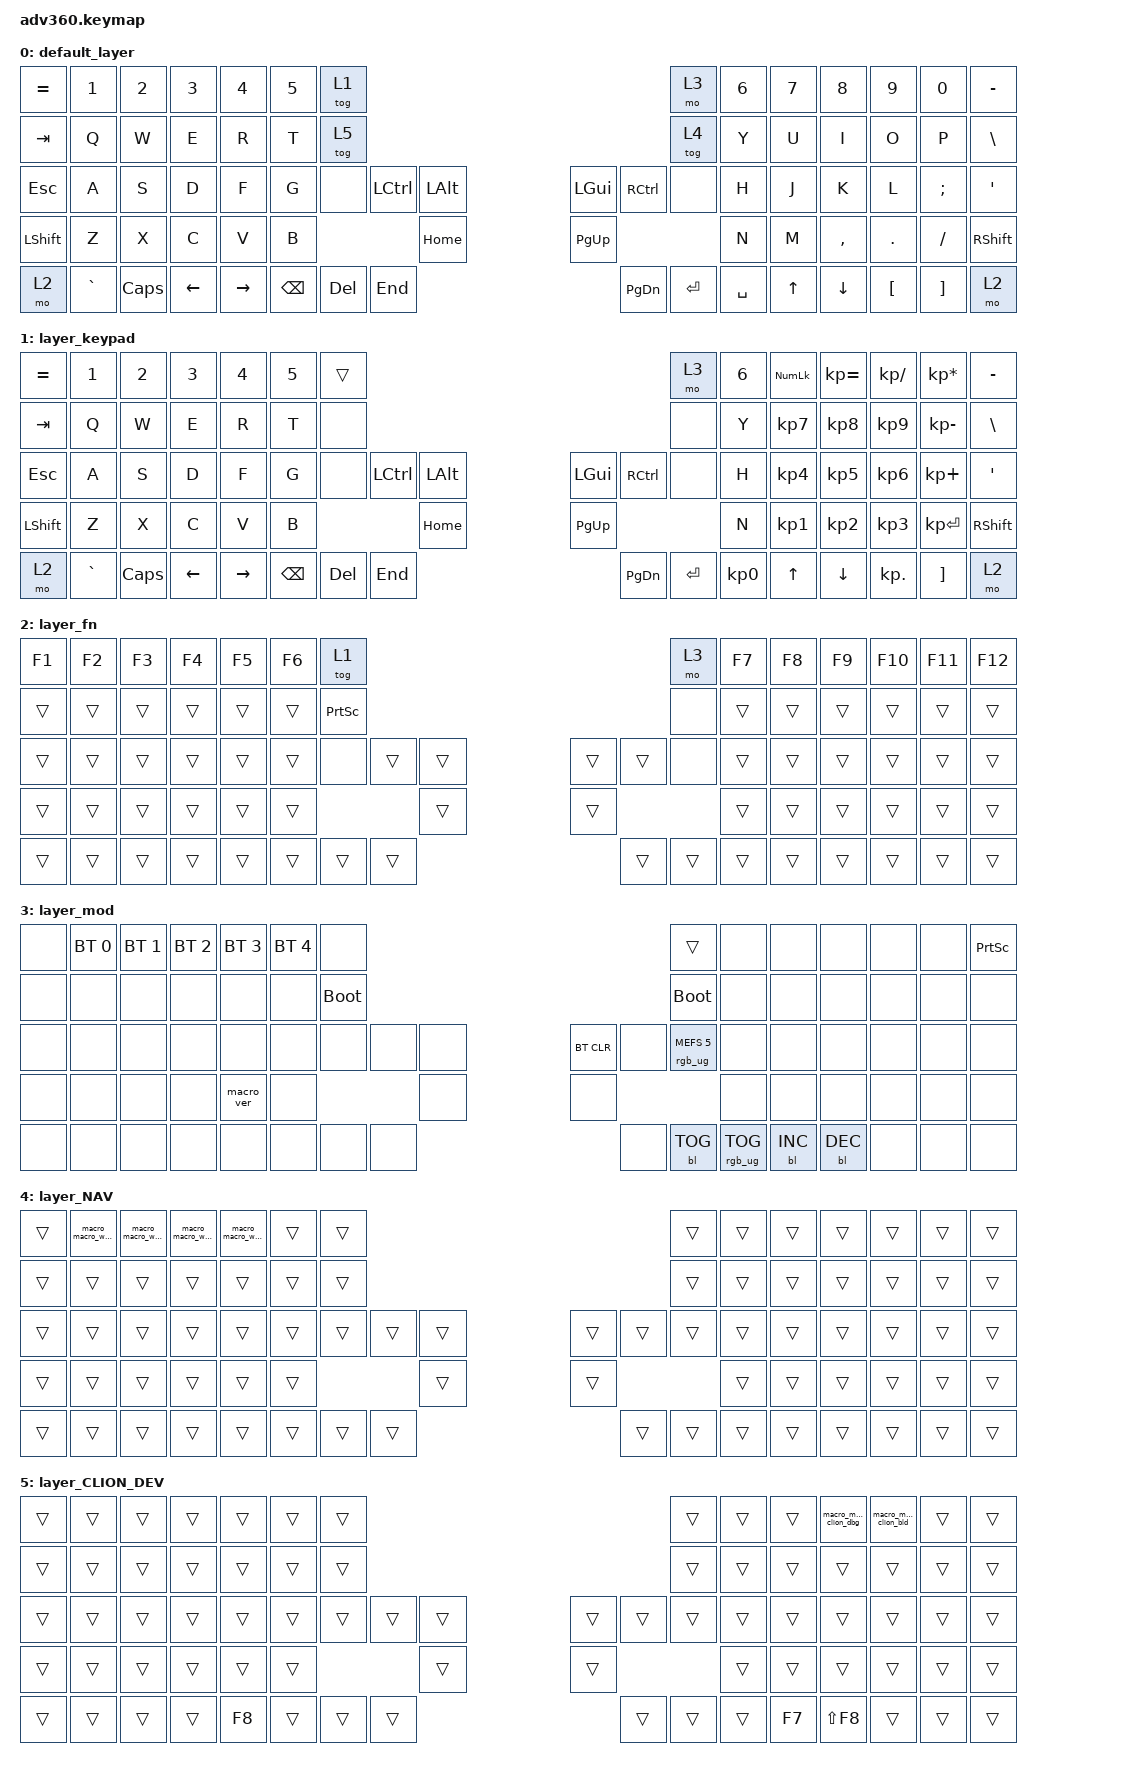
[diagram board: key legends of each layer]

/*
 * Copyright (c) 2020 The ZMK Contributors
 *
 * SPDX-License-Identifier: MIT
 */


/* THIS FILE WAS GENERATED!
 *
 * This file was generated automatically. You may or may not want to
 * edit it directly.
 */

#include <behaviors.dtsi>
#include <dt-bindings/zmk/keys.h>
#include <dt-bindings/zmk/bt.h>
#include <dt-bindings/zmk/rgb.h>
#include <dt-bindings/zmk/backlight.h>

/ {
  behaviors {
    #include "macros.dtsi"
    #include "version.dtsi"

    hm: homerow_mods {
        compatible = "zmk,behavior-hold-tap";
        label = "HOMEROW_MODS";
        #binding-cells = <2>;
        tapping-term-ms = <200>;
        quick_tap_ms = <175>;
        flavor = "tap-preferred";
        bindings = <&kp>, <&kp>;
    };
  };

    keymap {
        compatible = "zmk,keymap";


        default_layer {
            bindings = <
 &kp EQUAL     &kp N1    &kp N2    &kp N3     &kp N4  &kp N5              &tog 1                                                                 &mo 3  &kp N6  &kp N7     &kp N8    &kp N9    &kp N0  &kp MINUS
   &kp TAB      &kp Q     &kp W     &kp E      &kp R   &kp T              &tog 5                                                                &tog 4   &kp Y   &kp U      &kp I     &kp O     &kp P   &kp BSLH
   &kp ESC      &kp A     &kp S     &kp D      &kp F   &kp G               &none  &kp LCTRL  &kp LALT                   &kp LGUI  &kp RCTRL      &none   &kp H   &kp J      &kp K     &kp L  &kp SEMI    &kp SQT
 &kp LSHFT      &kp Z     &kp X     &kp C      &kp V   &kp B                                 &kp HOME                  &kp PG_UP                         &kp N   &kp M  &kp COMMA   &kp DOT  &kp FSLH  &kp RSHFT
     &mo 2  &kp GRAVE  &kp CAPS  &kp LEFT  &kp RIGHT                    &kp BSPC    &kp DEL   &kp END                  &kp PG_DN  &kp ENTER  &kp SPACE          &kp UP   &kp DOWN  &kp LBKT  &kp RBKT      &mo 2
            >;
        };

        layer_keypad {
            bindings = <
 &kp EQUAL     &kp N1    &kp N2    &kp N3     &kp N4  &kp N5              &trans                                                                 &mo 3  &kp N6  &kp KP_NUM  &kp KP_EQUAL  &kp KP_DIVIDE  &kp KP_MULTIPLY  &kp MINUS
   &kp TAB      &kp Q     &kp W     &kp E      &kp R   &kp T               &none                                                                 &none   &kp Y   &kp KP_N7     &kp KP_N8      &kp KP_N9     &kp KP_MINUS   &kp BSLH
   &kp ESC      &kp A     &kp S     &kp D      &kp F   &kp G               &none  &kp LCTRL  &kp LALT                   &kp LGUI  &kp RCTRL      &none   &kp H   &kp KP_N4     &kp KP_N5      &kp KP_N6      &kp KP_PLUS    &kp SQT
 &kp LSHFT      &kp Z     &kp X     &kp C      &kp V   &kp B                                 &kp HOME                  &kp PG_UP                         &kp N   &kp KP_N1     &kp KP_N2      &kp KP_N3     &kp KP_ENTER  &kp RSHFT
     &mo 2  &kp GRAVE  &kp CAPS  &kp LEFT  &kp RIGHT                    &kp BSPC    &kp DEL   &kp END                  &kp PG_DN  &kp ENTER  &kp KP_N0              &kp UP      &kp DOWN     &kp KP_DOT         &kp RBKT      &mo 2
            >;
        };

        layer_fn {
            bindings = <
 &kp F1  &kp F2  &kp F3  &kp F4  &kp F5  &kp F6                     &tog 1                                                   &mo 3  &kp F7  &kp F8  &kp F9  &kp F10  &kp F11  &kp F12
 &trans  &trans  &trans  &trans  &trans  &trans            &kp PRINTSCREEN                                                   &none  &trans  &trans  &trans   &trans   &trans   &trans
 &trans  &trans  &trans  &trans  &trans  &trans                      &none  &trans  &trans                  &trans  &trans   &none  &trans  &trans  &trans   &trans   &trans   &trans
 &trans  &trans  &trans  &trans  &trans  &trans                                     &trans                  &trans                  &trans  &trans  &trans   &trans   &trans   &trans
 &trans  &trans  &trans  &trans  &trans                             &trans  &trans  &trans                  &trans  &trans  &trans          &trans  &trans   &trans   &trans   &trans
            >;
        };

        layer_mod {
            bindings = <
  &none  &bt BT_SEL 0  &bt BT_SEL 1  &bt BT_SEL 2  &bt BT_SEL 3  &bt BT_SEL 4                  &none                                                                          &trans   &none       &none       &none   &none   &none  &kp PRINTSCREEN
  &none         &none         &none         &none         &none         &none            &bootloader                                                                     &bootloader   &none       &none       &none   &none   &none            &none
  &none         &none         &none         &none         &none         &none                  &none   &none   &none                  &bt BT_CLR       &none  &rgb_ug RGB_MEFS_CMD 5   &none       &none       &none   &none   &none            &none
  &none         &none         &none         &none    &macro_ver         &none                                  &none                       &none                                       &none       &none       &none   &none   &none            &none
  &none         &none         &none         &none         &none                                &none   &none   &none                       &none  &bl BL_TOG         &rgb_ug RGB_TOG          &bl BL_INC  &bl BL_DEC   &none   &none            &none
            >;
        };

        layer_NAV {
            bindings = <
 &trans  &macro_macro_ws_1  &macro_macro_ws_2  &macro_macro_ws_3  &macro_macro_ws_4  &trans            &trans                                                  &trans  &trans  &trans  &trans  &trans  &trans  &trans
 &trans             &trans             &trans             &trans             &trans  &trans            &trans                                                  &trans  &trans  &trans  &trans  &trans  &trans  &trans
 &trans             &trans             &trans             &trans             &trans  &trans            &trans  &trans  &trans                  &trans  &trans  &trans  &trans  &trans  &trans  &trans  &trans  &trans
 &trans             &trans             &trans             &trans             &trans  &trans                            &trans                  &trans                  &trans  &trans  &trans  &trans  &trans  &trans
 &trans             &trans             &trans             &trans             &trans                    &trans  &trans  &trans                  &trans  &trans  &trans          &trans  &trans  &trans  &trans  &trans
            >;
        };

        layer_CLION_DEV {
            bindings = <
 &trans  &trans  &trans  &trans  &trans  &trans            &trans                                                  &trans  &trans  &trans  &macro_macro_clion_dbg  &macro_macro_clion_bld  &trans  &trans
 &trans  &trans  &trans  &trans  &trans  &trans            &trans                                                  &trans  &trans  &trans                  &trans                  &trans  &trans  &trans
 &trans  &trans  &trans  &trans  &trans  &trans            &trans  &trans  &trans                  &trans  &trans  &trans  &trans  &trans                  &trans                  &trans  &trans  &trans
 &trans  &trans  &trans  &trans  &trans  &trans                            &trans                  &trans                  &trans  &trans                  &trans                  &trans  &trans  &trans
 &trans  &trans  &trans  &trans  &kp F8                    &trans  &trans  &trans                  &trans  &trans  &trans          &kp F7              &kp LS(F8)                  &trans  &trans  &trans
            >;
        };

    };
};
